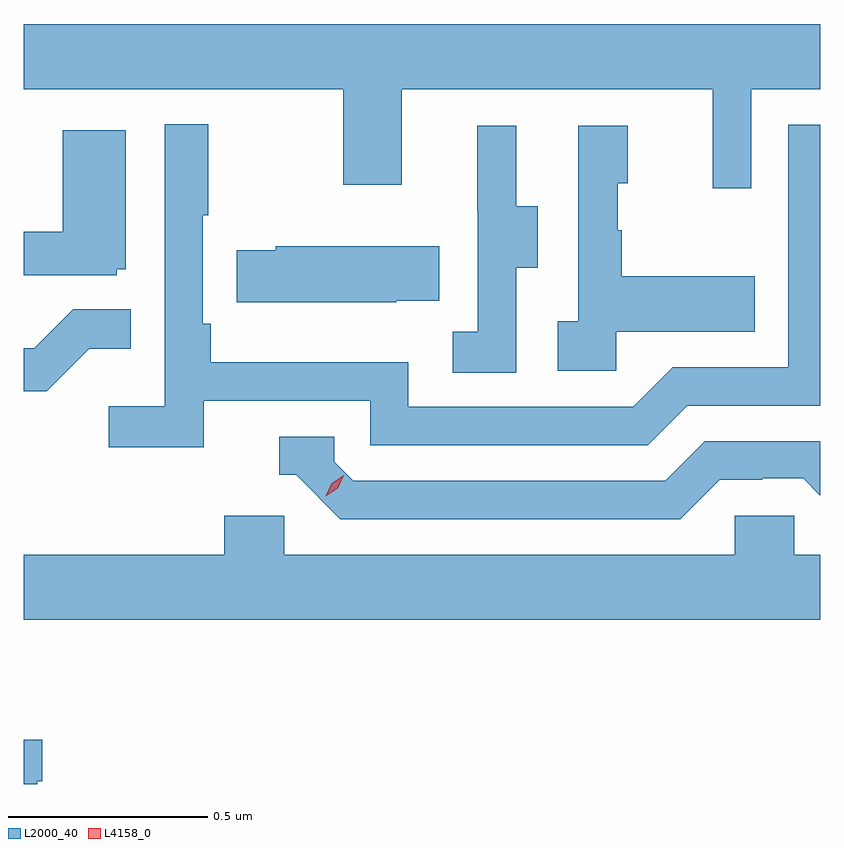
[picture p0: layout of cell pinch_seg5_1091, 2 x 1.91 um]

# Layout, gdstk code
import gdstk
lib = gdstk.Library(unit=1e-6, precision=1e-09)
def P(c, l, *ps):  # polygons
    for p in ps: c.add(gdstk.Polygon(p, *l))
L2000_40 = (2000, 40)
L4158_0 = (4158, 0)

pinch_seg5_1091 = lib.new_cell('pinch_seg5_1091')
P(pinch_seg5_1091, L2000_40, [(822.861,864.752),(823.034,864.752),(823.034,864.916),(821.034,864.916),(821.034,864.752),(821.836,864.752),(821.836,864.513),(821.983,864.513),(821.983,864.752),(822.764,864.752),(822.764,864.504),(822.861,864.504)],
  [(821.486,863.97),(821.904,863.97),(821.904,863.859),(822.601,863.859),(822.7,863.958),(823.034,863.958),(823.034,864.663),(822.954,864.663),(822.954,864.054),(822.663,864.054),(822.564,863.955),(822,863.955),(822,864.067),(821.504,864.067),(821.504,864.163),(821.484,864.163),(821.484,864.436),(821.497,864.436),(821.497,864.664),(821.388,864.664),(821.388,863.956),(821.247,863.956),(821.247,863.854),(821.486,863.854)],
  [(822.27,864.304),(822.325,864.304),(822.325,864.459),(822.271,864.459),(822.271,864.661),(822.173,864.661),(822.173,864.447),(822.174,864.447),(822.174,864.143),(822.111,864.143),(822.111,864.04),(822.27,864.04)],
  [(822.522,864.143),(822.869,864.143),(822.869,864.283),(822.535,864.283),(822.535,864.398),(822.525,864.398),(822.525,864.516),(822.55,864.516),(822.55,864.661),(822.426,864.661),(822.426,864.17),(822.375,864.17),(822.375,864.045),(822.522,864.045)],
  [(821.268,864.3),(821.29,864.3),(821.29,864.649),(821.132,864.649),(821.132,864.394),(821.034,864.394),(821.034,864.285),(821.268,864.285)],
  [(821.969,864.221),(822.077,864.221),(822.077,864.358),(821.667,864.358),(821.667,864.348),(821.569,864.348),(821.569,864.218),(821.969,864.218)],
  [(821.199,864.101),(821.303,864.101),(821.303,864.2),(821.159,864.2),(821.061,864.102),(821.034,864.102),(821.034,863.994),(821.092,863.994)],
  [(822.781,863.772),(822.888,863.772),(822.888,863.775),(822.991,863.775),(823.033,863.733),(823.034,863.733),(823.034,863.867),(823.033,863.868),(822.744,863.868),(822.645,863.769),(821.862,863.769),(821.814,863.817),(821.814,863.88),(821.675,863.88),(821.675,863.784),(821.718,863.784),(821.829,863.673),(822.682,863.673)],
  [(823.034,863.584),(822.969,863.584),(822.969,863.682),(822.819,863.682),(822.819,863.584),(821.688,863.584),(821.688,863.682),(821.537,863.682),(821.537,863.584),(821.034,863.584),(821.034,863.42),(823.034,863.42)],
  [(821.068,863.015),(821.081,863.015),(821.081,863.119),(821.034,863.119),(821.034,863.008),(821.068,863.008)])
P(pinch_seg5_1091, L4158_0, [(821.792,863.73),(821.792,863.731),(821.807,863.763),(821.838,863.783),(821.838,863.783),(821.838,863.783),(821.822,863.75),(821.792,863.73)])

lib.write_gds('pinch_seg5_1091.gds')
